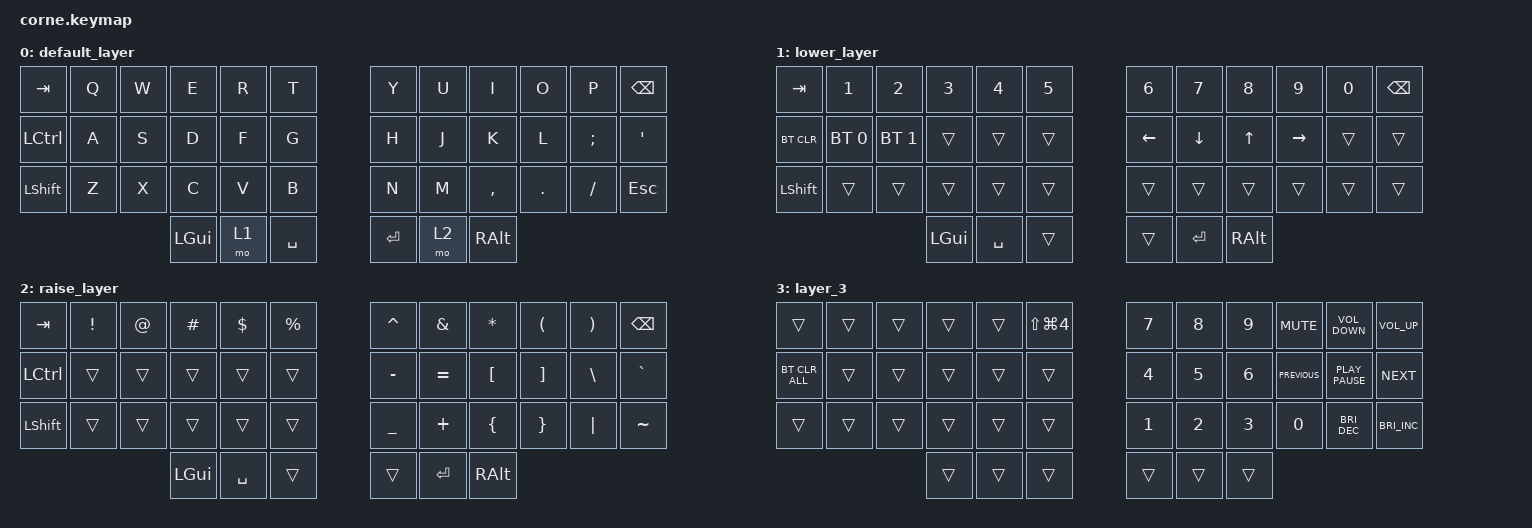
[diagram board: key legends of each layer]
/*
 * Copyright (c) 2020 The ZMK Contributors
 *
 * SPDX-License-Identifier: MIT
 */

#include <behaviors.dtsi>
#include <dt-bindings/zmk/bt.h>
#include <dt-bindings/zmk/keys.h>

/ {
    combos {
        compatible = "zmk,combos";

        l3 {
            bindings = <&mo 3>;
            key-positions = <37 40>;
        };

        numberpad {
            bindings = <&mo 3>;
            key-positions = <17 37>;
        };
    };

    keymap {
        compatible = "zmk,keymap";

        default_layer {
            // -----------------------------------------------------------------------------------------
            // |  TAB |  Q  |  W  |  E  |  R  |  T  |   |  Y  |  U   |  I  |  O  |  P  | BSPC |
            // | CTRL |  A  |  S  |  D  |  F  |  G  |   |  H  |  J   |  K  |  L  |  ;  |  '   |
            // | SHFT |  Z  |  X  |  C  |  V  |  B  |   |  N  |  M   |  ,  |  .  |  /  | ESC  |
            //                    | GUI | LWR | SPC |   | ENT | RSE  | ALT |

            bindings = <
&kp TAB    &kp Q  &kp W  &kp E     &kp R  &kp T        &kp Y      &kp U  &kp I      &kp O    &kp P     &kp BSPC
&kp LCTRL  &kp A  &kp S  &kp D     &kp F  &kp G        &kp H      &kp J  &kp K      &kp L    &kp SEMI  &kp SQT
&kp LSHFT  &kp Z  &kp X  &kp C     &kp V  &kp B        &kp N      &kp M  &kp COMMA  &kp DOT  &kp FSLH  &kp ESC
                         &kp LGUI  &mo 1  &kp SPACE    &kp ENTER  &mo 2  &kp RALT
            >;
        };

        lower_layer {
            // -----------------------------------------------------------------------------------------
            // |  TAB |  1  |  2  |  3  |  4  |  5  |   |  6  |  7  |  8  |  9  |  0  | BSPC |
            // | BTCLR| BT1 | BT2 | BT3 | BT4 | BT5 |   | LFT | DWN |  UP | RGT |     |      |
            // | SHFT |     |     |     |     |     |   |     |     |     |     |     |      |
            //                    | GUI |     | SPC |   | ENT |     | ALT |

            bindings = <
&kp TAB     &kp N1        &kp N2        &kp N3    &kp N4     &kp N5    &kp N6    &kp N7     &kp N8    &kp N9     &kp N0  &kp BSPC
&bt BT_CLR  &bt BT_SEL 0  &bt BT_SEL 1  &trans    &trans     &trans    &kp LEFT  &kp DOWN   &kp UP    &kp RIGHT  &trans  &trans
&kp LSHFT   &trans        &trans        &trans    &trans     &trans    &trans    &trans     &trans    &trans     &trans  &trans
                                        &kp LGUI  &kp SPACE  &trans    &trans    &kp ENTER  &kp RALT
            >;
        };

        raise_layer {
            // -----------------------------------------------------------------------------------------
            // |  TAB |  !  |  @  |  #  |  $  |  %  |   |  ^  |  &  |  *  |  (  |  )  | BSPC |
            // | CTRL |     |     |     |     |     |   |  -  |  =  |  [  |  ]  |  \  |  `   |
            // | SHFT |     |     |     |     |     |   |  _  |  +  |  {  |  }  | "|" |  ~   |
            //                    | GUI |     | SPC |   | ENT |     | ALT |

            bindings = <
&kp TAB    &kp EXCL  &kp AT  &kp HASH  &kp DLLR   &kp PRCNT    &kp CARET  &kp AMPS   &kp ASTRK  &kp LPAR  &kp RPAR  &kp BSPC
&kp LCTRL  &trans    &trans  &trans    &trans     &trans       &kp MINUS  &kp EQUAL  &kp LBKT   &kp RBKT  &kp BSLH  &kp GRAVE
&kp LSHFT  &trans    &trans  &trans    &trans     &trans       &kp UNDER  &kp PLUS   &kp LBRC   &kp RBRC  &kp PIPE  &kp TILDE
                             &kp LGUI  &kp SPACE  &trans       &trans     &kp ENTER  &kp RALT
            >;
        };

        layer_3 {
            bindings = <
&trans          &trans  &trans  &trans  &trans  &kp LS(LG(NUMBER_4))    &kp N7        &kp N8        &kp N9        &kp C_MUTE      &kp C_VOLUME_DOWN     &kp C_VOLUME_UP
&bt BT_CLR_ALL  &trans  &trans  &trans  &trans  &trans                  &kp N4        &kp N5        &kp NUMBER_6  &kp K_PREVIOUS  &kp K_PLAY_PAUSE      &kp K_NEXT
&trans          &trans  &trans  &trans  &trans  &trans                  &kp NUMBER_1  &kp NUMBER_2  &kp NUMBER_3  &kp N0          &kp C_BRIGHTNESS_DEC  &kp C_BRIGHTNESS_INC
                                &trans  &trans  &trans                  &trans        &trans        &trans
            >;
        };
    };
};
